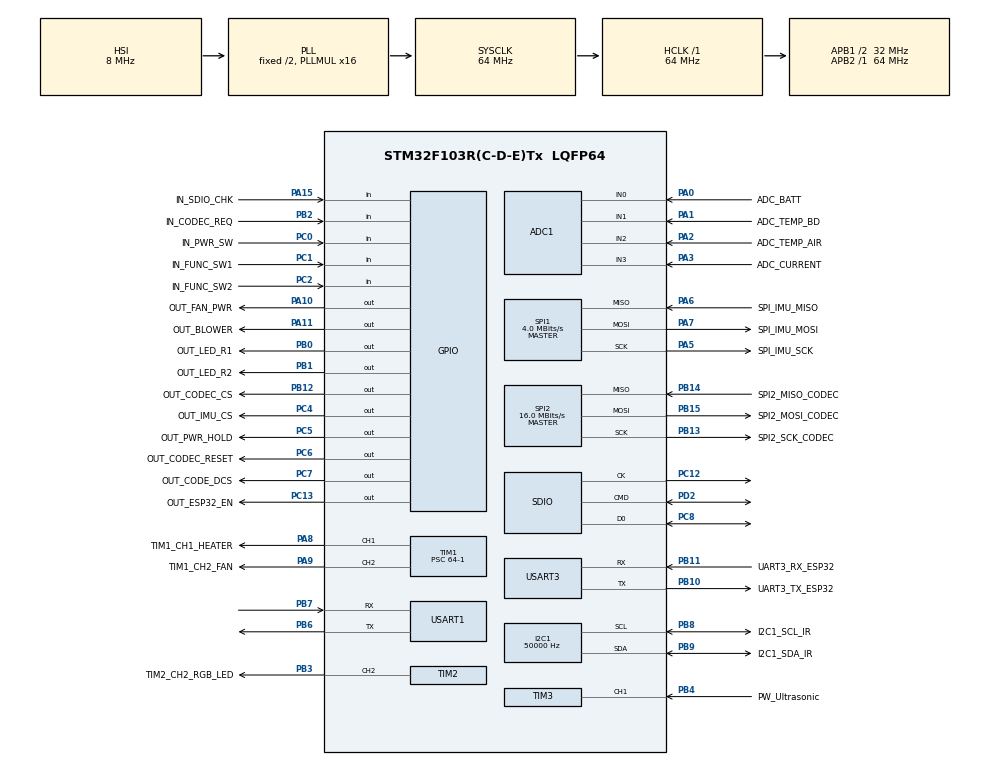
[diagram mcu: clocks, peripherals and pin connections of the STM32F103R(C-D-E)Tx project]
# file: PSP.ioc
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ADC1.Channel-0\#ChannelRegularConversion=ADC_CHANNEL_0
ADC1.Channel-1\#ChannelRegularConversion=ADC_CHANNEL_1
ADC1.Channel-2\#ChannelRegularConversion=ADC_CHANNEL_2
ADC1.Channel-3\#ChannelRegularConversion=ADC_CHANNEL_3
ADC1.ContinuousConvMode=ENABLE
ADC1.NbrOfConversion=4
ADC1.NbrOfConversionFlag=1
ADC1.Rank-0\#ChannelRegularConversion=1
ADC1.Rank-1\#ChannelRegularConversion=2
ADC1.Rank-2\#ChannelRegularConversion=3
ADC1.Rank-3\#ChannelRegularConversion=4
ADC1.SamplingTime-0\#ChannelRegularConversion=ADC_SAMPLETIME_239CYCLES_5
ADC1.SamplingTime-1\#ChannelRegularConversion=ADC_SAMPLETIME_239CYCLES_5
ADC1.SamplingTime-2\#ChannelRegularConversion=ADC_SAMPLETIME_239CYCLES_5
ADC1.SamplingTime-3\#ChannelRegularConversion=ADC_SAMPLETIME_239CYCLES_5
ADC1.master=1
Dma.ADC1.3.Direction=DMA_PERIPH_TO_MEMORY
Dma.ADC1.3.Instance=DMA1_Channel1
Dma.ADC1.3.MemDataAlignment=DMA_MDATAALIGN_WORD
Dma.ADC1.3.MemInc=DMA_MINC_ENABLE
Dma.ADC1.3.Mode=DMA_CIRCULAR
Dma.ADC1.3.PeriphDataAlignment=DMA_PDATAALIGN_WORD
Dma.ADC1.3.PeriphInc=DMA_PINC_DISABLE
Dma.ADC1.3.Priority=DMA_PRIORITY_LOW
Dma.Request0=SPI1_TX
Dma.Request1=SPI1_RX
Dma.Request2=TIM2_CH2/CH4
Dma.Request3=ADC1
Dma.Request4=SDIO
Dma.SDIO.4.Direction=DMA_PERIPH_TO_MEMORY
Dma.SDIO.4.Instance=DMA2_Channel4
Dma.SDIO.4.MemDataAlignment=DMA_MDATAALIGN_WORD
Dma.SDIO.4.MemInc=DMA_MINC_ENABLE
Dma.SDIO.4.Mode=DMA_NORMAL
Dma.SDIO.4.PeriphDataAlignment=DMA_PDATAALIGN_WORD
Dma.SDIO.4.PeriphInc=DMA_PINC_DISABLE
Dma.SDIO.4.Priority=DMA_PRIORITY_VERY_HIGH
Dma.SPI1_RX.1.Direction=DMA_PERIPH_TO_MEMORY
Dma.SPI1_RX.1.Instance=DMA1_Channel2
Dma.SPI1_RX.1.MemDataAlignment=DMA_MDATAALIGN_BYTE
Dma.SPI1_RX.1.MemInc=DMA_MINC_ENABLE
Dma.SPI1_RX.1.Mode=DMA_NORMAL
Dma.SPI1_RX.1.PeriphDataAlignment=DMA_PDATAALIGN_BYTE
Dma.SPI1_RX.1.PeriphInc=DMA_PINC_DISABLE
Dma.SPI1_RX.1.Priority=DMA_PRIORITY_LOW
Dma.SPI1_TX.0.Direction=DMA_MEMORY_TO_PERIPH
Dma.SPI1_TX.0.Instance=DMA1_Channel3
Dma.SPI1_TX.0.MemDataAlignment=DMA_MDATAALIGN_BYTE
Dma.SPI1_TX.0.MemInc=DMA_MINC_ENABLE
Dma.SPI1_TX.0.Mode=DMA_NORMAL
Dma.SPI1_TX.0.PeriphDataAlignment=DMA_PDATAALIGN_BYTE
Dma.SPI1_TX.0.PeriphInc=DMA_PINC_DISABLE
Dma.SPI1_TX.0.Priority=DMA_PRIORITY_LOW
Dma.TIM2_CH2/CH4.2.Direction=DMA_MEMORY_TO_PERIPH
Dma.TIM2_CH2/CH4.2.Instance=DMA1_Channel7
Dma.TIM2_CH2/CH4.2.MemDataAlignment=DMA_MDATAALIGN_HALFWORD
Dma.TIM2_CH2/CH4.2.MemInc=DMA_MINC_ENABLE
Dma.TIM2_CH2/CH4.2.Mode=DMA_NORMAL
Dma.TIM2_CH2/CH4.2.PeriphDataAlignment=DMA_PDATAALIGN_HALFWORD
Dma.TIM2_CH2/CH4.2.PeriphInc=DMA_PINC_DISABLE
Dma.TIM2_CH2/CH4.2.Priority=DMA_PRIORITY_LOW
FATFS.BSP.number=1
FATFS._CODE_PAGE=437
FATFS._MAX_SS=4096
FATFS._USE_LFN=2
FATFS0.BSP.STBoard=false
FATFS0.BSP.api=Unknown
FATFS0.BSP.instance=PA15
FATFS0.BSP.ip=GPIO
FATFS0.BSP.mode=Input
FATFS0.BSP.name=Detect_SDIO
FATFS0.BSP.solution=PA15
FREERTOS.Tasks01=defaultTask,0,128,StartDefaultTask,Default,NULL,Dynamic,NULL,NULL
FREERTOS.configCHECK_FOR_STACK_OVERFLOW=2
FREERTOS.configTOTAL_HEAP_SIZE=12288
FREERTOS.configUSE_MALLOC_FAILED_HOOK=1
I2C1.ClockSpeed=50000
I2C1.I2C_Mode=I2C_Fast
I2C1.NoStretchMode=I2C_NOSTRETCH_ENABLE
Mcu.Family=STM32F1
Mcu.Name=STM32F103R(C-D-E)Tx
Mcu.Package=LQFP64
NVIC.ADC1_2_IRQn=true\:5\:0\:false\:false\:true\:true\:true\:true\:true
NVIC.DMA1_Channel1_IRQn=true\:5\:0\:false\:false\:true\:true\:false\:true\:true
NVIC.DMA1_Channel2_IRQn=true\:5\:0\:false\:false\:true\:true\:false\:true\:true
NVIC.DMA1_Channel3_IRQn=true\:5\:0\:false\:false\:true\:true\:false\:true\:true
NVIC.DMA1_Channel7_IRQn=true\:5\:0\:false\:false\:true\:true\:false\:true\:true
NVIC.DMA2_Channel4_5_IRQn=true\:5\:0\:false\:false\:true\:true\:false\:true\:true
NVIC.PriorityGroup=NVIC_PRIORITYGROUP_4
NVIC.SDIO_IRQn=true\:5\:0\:false\:false\:true\:true\:true\:true\:true
NVIC.SPI2_IRQn=true\:5\:0\:false\:false\:true\:true\:true\:true\:true
NVIC.TIM2_IRQn=true\:5\:0\:false\:false\:true\:true\:true\:true\:true
NVIC.TIM3_IRQn=true\:5\:0\:false\:false\:true\:true\:true\:true\:true
NVIC.TIM4_IRQn=true\:15\:0\:false\:false\:true\:false\:false\:true\:true
NVIC.TimeBase=TIM4_IRQn
NVIC.TimeBaseIP=TIM4
NVIC.USART1_IRQn=true\:5\:0\:false\:false\:true\:true\:true\:true\:true
PA0-WKUP.GPIO_Label=ADC_BATT
PA0-WKUP.Signal=ADCx_IN0
PA1.GPIO_Label=ADC_TEMP_BD
PA1.Signal=ADCx_IN1
PA10.GPIO_Label=OUT_FAN_PWR
PA10.Signal=GPIO_Output
PA11.GPIO_Label=OUT_BLOWER
PA11.Signal=GPIO_Output
PA13.Mode=Serial_Wire
PA13.Signal=SYS_JTMS-SWDIO
PA14.Mode=Serial_Wire
PA14.Signal=SYS_JTCK-SWCLK
PA15.GPIO_Label=IN_SDIO_CHK
PA15.Signal=GPIO_Input
PA2.GPIO_Label=ADC_TEMP_AIR
PA2.Signal=ADCx_IN2
PA3.GPIO_Label=ADC_CURRENT
PA3.Signal=ADCx_IN3
PA5.GPIO_Label=SPI_IMU_SCK
PA5.Mode=Full_Duplex_Master
PA5.Signal=SPI1_SCK
PA6.GPIO_Label=SPI_IMU_MISO
PA6.Mode=Full_Duplex_Master
PA6.Signal=SPI1_MISO
PA7.GPIO_Label=SPI_IMU_MOSI
PA7.Mode=Full_Duplex_Master
PA7.Signal=SPI1_MOSI
PA8.GPIO_Label=TIM1_CH1_HEATER
PA8.Signal=S_TIM1_CH1
PA9.GPIO_Label=TIM1_CH2_FAN
PA9.Signal=S_TIM1_CH2
PB0.GPIO_Label=OUT_LED_R1
PB0.Signal=GPIO_Output
PB1.GPIO_Label=OUT_LED_R2
PB1.Signal=GPIO_Output
PB10.GPIO_Label=UART3_TX_ESP32
PB10.Mode=Asynchronous
PB10.Signal=USART3_TX
PB11.GPIO_Label=UART3_RX_ESP32
PB11.Mode=Asynchronous
PB11.Signal=USART3_RX
PB12.GPIO_Label=OUT_CODEC_CS
PB12.PinState=GPIO_PIN_SET
PB12.Signal=GPIO_Output
PB13.GPIO_Label=SPI2_SCK_CODEC
PB13.Mode=Full_Duplex_Master
PB13.Signal=SPI2_SCK
PB14.GPIO_Label=SPI2_MISO_CODEC
PB14.Mode=Full_Duplex_Master
PB14.Signal=SPI2_MISO
PB15.GPIO_Label=SPI2_MOSI_CODEC
PB15.Mode=Full_Duplex_Master
PB15.Signal=SPI2_MOSI
PB2.GPIO_Label=IN_CODEC_REQ
PB2.Signal=GPIO_Input
PB3.GPIO_Label=TIM2_CH2_RGB_LED
PB3.Signal=S_TIM2_CH2
PB4.GPIO_Label=PW_Ultrasonic
PB4.Signal=S_TIM3_CH1
PB6.Mode=Asynchronous
PB6.Signal=USART1_TX
PB7.Mode=Asynchronous
PB7.Signal=USART1_RX
PB8.GPIO_Label=I2C1_SCL_IR
PB8.Mode=I2C
PB8.Signal=I2C1_SCL
PB9.GPIO_Label=I2C1_SDA_IR
PB9.Mode=I2C
PB9.Signal=I2C1_SDA
PC0.GPIO_Label=IN_PWR_SW
PC0.Signal=GPIO_Input
PC1.GPIO_Label=IN_FUNC_SW1
PC1.Signal=GPIO_Input
PC12.Mode=SD_1_bit
PC12.Signal=SDIO_CK
PC13-TAMPER-RTC.GPIO_Label=OUT_ESP32_EN
PC13-TAMPER-RTC.Signal=GPIO_Output
PC2.GPIO_Label=IN_FUNC_SW2
PC2.Signal=GPIO_Input
PC4.GPIO_Label=OUT_IMU_CS
PC4.GPIO_Speed=GPIO_SPEED_FREQ_HIGH
PC4.PinState=GPIO_PIN_SET
PC4.Signal=GPIO_Output
PC5.GPIO_Label=OUT_PWR_HOLD
PC5.PinState=GPIO_PIN_SET
PC5.Signal=GPIO_Output
PC6.GPIO_Label=OUT_CODEC_RESET
PC6.Signal=GPIO_Output
PC7.GPIO_Label=OUT_CODE_DCS
PC7.PinState=GPIO_PIN_SET
PC7.Signal=GPIO_Output
PC8.Mode=SD_1_bit
PC8.Signal=SDIO_D0
PD2.Mode=SD_1_bit
PD2.Signal=SDIO_CMD
ProjectManager.HeapSize=0x400
ProjectManager.StackSize=0x3000
ProjectManager.TargetToolchain=CMake
RCC.ADCPresc=RCC_ADCPCLK2_DIV8
RCC.AHBFreq_Value=64000000
RCC.APB1CLKDivider=RCC_HCLK_DIV2
RCC.APB1Freq_Value=32000000
RCC.APB1TimFreq_Value=64000000
RCC.APB2Freq_Value=64000000
RCC.APB2TimFreq_Value=64000000
RCC.HCLKFreq_Value=64000000
RCC.PLLMUL=RCC_PLL_MUL16
RCC.SYSCLKFreq_VALUE=64000000
RCC.SYSCLKSource=RCC_SYSCLKSOURCE_PLLCLK
RCC.USBFreq_Value=64000000
SDIO.ClockDiv=248
SH.ADCx_IN0.0=ADC1_IN0,IN0
SH.ADCx_IN1.0=ADC1_IN1,IN1
SH.ADCx_IN2.0=ADC1_IN2,IN2
SH.ADCx_IN3.0=ADC1_IN3,IN3
SH.S_TIM1_CH1.0=TIM1_CH1,PWM Generation1 CH1
SH.S_TIM1_CH2.0=TIM1_CH2,PWM Generation2 CH2
SH.S_TIM2_CH2.0=TIM2_CH2,PWM Generation2 CH2
SH.S_TIM3_CH1.0=TIM3_CH1,Input_Capture1_from_TI1
SPI1.BaudRatePrescaler=SPI_BAUDRATEPRESCALER_16
SPI1.CLKPhase=SPI_PHASE_2EDGE
SPI1.CLKPolarity=SPI_POLARITY_HIGH
SPI1.CalculateBaudRate=4.0 MBits/s
SPI1.Direction=SPI_DIRECTION_2LINES
SPI1.Mode=SPI_MODE_MASTER
SPI1.VirtualType=VM_MASTER
SPI2.BaudRatePrescaler=SPI_BAUDRATEPRESCALER_2
SPI2.CLKPhase=SPI_PHASE_1EDGE
SPI2.CLKPolarity=SPI_POLARITY_LOW
SPI2.CalculateBaudRate=16.0 MBits/s
SPI2.DataSize=SPI_DATASIZE_8BIT
SPI2.Direction=SPI_DIRECTION_2LINES
SPI2.Mode=SPI_MODE_MASTER
SPI2.VirtualType=VM_MASTER
TIM1.Channel-PWM\ Generation1\ CH1=TIM_CHANNEL_1
TIM1.Channel-PWM\ Generation2\ CH2=TIM_CHANNEL_2
TIM1.Period=1000-1
TIM1.Prescaler=64-1
TIM2.Channel-PWM\ Generation2\ CH2=TIM_CHANNEL_2
TIM2.Period=80-1
TIM2.Prescaler=0
TIM3.Channel-Input_Capture1_from_TI1=TIM_CHANNEL_1
TIM3.Prescaler=64-1
USART1.VirtualMode=VM_ASYNC
USART3.VirtualMode=VM_ASYNC
VP_FATFS_VS_SDIO.Mode=SDIO
VP_FREERTOS_VS_CMSIS_V1.Mode=CMSIS_V1
VP_SYS_VS_tim4.Mode=TIM4
VP_TIM1_VS_ClockSourceINT.Mode=Internal
VP_TIM2_VS_ClockSourceINT.Mode=Internal
VP_TIM3_VS_ClockSourceINT.Mode=Internal
board=custom

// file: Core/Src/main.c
/* USER CODE BEGIN Header */
/**
  ******************************************************************************
  * @file           : main.c
  * @brief          : Main program body
  ******************************************************************************
  * @attention
  *
  * Copyright (c) 2026 STMicroelectronics.
  * All rights reserved.
  *
  * This software is licensed under terms that can be found in the LICENSE file
  * in the root directory of this software component.
  * If no LICENSE file comes with this software, it is provided AS-IS.
  *
  ******************************************************************************
  */
/* USER CODE END Header */
#include "main.h"
#include "cmsis_os.h"
#include "adc.h"
#include "dma.h"
#include "fatfs.h"
#include "i2c.h"
#include "sdio.h"
#include "spi.h"
#include "iwdg.h"
#include "tim.h"
#include "usart.h"
#include "gpio.h"

/* USER CODE BEGIN Includes */
#include <stdio.h>
#include "SEGGER_RTT.h"
#include "iwdg.h"
#include "stm32f1xx_hal.h"
#include "app/config.h"
#include "app/ipc.h"
/* USER CODE END Includes */

/* USER CODE BEGIN PV */
/* ADC1 DMA circular buffer — filled in background by DMA1_Channel1.
 * Indices (matching .ioc rank order):
 *   [0] ADC_BATT     (PA0)  battery voltage
 *   [1] ADC_TEMP_BD  (PA1)  board temperature
 *   [2] ADC_TEMP_AIR (PA2)  air / enclosure temperature
 *   [3] ADC_CURRENT  (PA3)  motor / heater current
 * Word alignment matches DMA_MDATAALIGN_WORD from .ioc.
 *
 * Externally visible (no `static`) so sensor_task in freertos.c can read
 * the latest values via an extern declaration. Still volatile because the
 * DMA controller writes it asynchronously to CPU loads.
 */
volatile uint32_t adc_buf[4];
/* USER CODE END PV */

void SystemClock_Config(void);
void MX_FREERTOS_Init(void);

int main(void)
{

  /* MCU Configuration--------------------------------------------------------*/

  /* Reset of all peripherals, Initializes the Flash interface and the Systick. */
  HAL_Init();

  /* Configure the system clock */
  SystemClock_Config();

  /* Initialize all configured peripherals */
  MX_GPIO_Init();
  MX_DMA_Init();
  MX_ADC1_Init();
  MX_SPI1_Init();
  MX_SDIO_SD_Init();
  MX_TIM1_Init();
  MX_USART1_UART_Init();
  MX_I2C1_Init();
  MX_TIM2_Init();
  MX_SPI2_Init();
  MX_USART3_UART_Init();
  MX_FATFS_Init();
  MX_TIM3_Init();
  /* USER CODE BEGIN 2 */

  /* --- 1. Power latch ------------------------------------------------------
   * PC5 = OUT_PWR_HOLD. The board power supply is latched by this pin: when
   * the user presses the power button (PC0 = IN_PWR_SW), power is applied
   * just long enough for the MCU to boot. We MUST drive PC5 HIGH as soon as
   * possible, otherwise the supply drops the moment the user releases the
   * button and we brown out mid-boot.
   *
   * MX_GPIO_Init() has already configured PC5 as push-pull output above,
   * so HAL_GPIO_WritePin is safe here. We do this FIRST in block 2, before
   * any peripheral start-up that might delay execution.
   */
  HAL_GPIO_WritePin(OUT_PWR_HOLD_GPIO_Port, OUT_PWR_HOLD_Pin, GPIO_PIN_SET);

  /* --- 1c. IWDG reset post-mortem indicator -------------------------------
   * If RCC_CSR.IWDGRSTF is set, the previous reset was caused by the
   * watchdog (a task deadlocked or starved). Snapshot RCC_CSR into the
   * global g_reset_cause so T_STATE can enter FSM_FAULT directly at init,
   * then clear all reset flags via RMVF. While still in pre-FreeRTOS
   * code, blink GPIO LEDs PB0+PB1 to give the user a clear visual signal
   * that this boot is *not* normal. SK6812 is not used here because it
   * depends on TIM2/DMA + actuators_init() which only runs after T_PID
   * starts. GPIO LEDs are init'd by MX_GPIO_Init() above and need no
   * extra setup. */
  g_reset_cause = RCC->CSR;
  RCC->CSR |= RCC_CSR_RMVF;
  if (g_reset_cause & RCC_CSR_IWDGRSTF) {
    for (int i = 0; i < BOOT_FAULT_BLINK_COUNT; i++) {
      HAL_GPIO_WritePin(OUT_LED_R1_GPIO_Port, OUT_LED_R1_Pin, GPIO_PIN_SET);
      HAL_GPIO_WritePin(OUT_LED_R2_GPIO_Port, OUT_LED_R2_Pin, GPIO_PIN_SET);
      HAL_Delay(BOOT_FAULT_BLINK_MS);
      HAL_GPIO_WritePin(OUT_LED_R1_GPIO_Port, OUT_LED_R1_Pin, GPIO_PIN_RESET);
      HAL_GPIO_WritePin(OUT_LED_R2_GPIO_Port, OUT_LED_R2_Pin, GPIO_PIN_RESET);
      HAL_Delay(BOOT_FAULT_BLINK_MS);
    }
  }

  /* --- 1b. SEGGER RTT init -------------------------------------------------
   * RTT auto-initializes on first SEGGER_RTT_Write(), but calling Init
   * explicitly here lets us see the control block in memory before the first
   * printf — useful if the debugger is attached but logs aren't showing.
   */
  SEGGER_RTT_Init();

  /* --- 2. printf retargeting (unbuffered stdout) ---------------------------
   * newlib defaults stdout to line-buffered, which delays output until '\n'
   * and may also fail silently if the heap is too small. Force unbuffered
   * mode so every printf() flushes immediately via __io_putchar -> USART1.
   */
  setvbuf(stdout, NULL, _IONBF, 0);
  printf("\r\n=== PSP V1.00 boot ===\r\n");
  printf("SYSCLK=%lu Hz, HCLK=%lu Hz\r\n",
         HAL_RCC_GetSysClockFreq(), HAL_RCC_GetHCLKFreq());

  /* --- 3. ADC1 DMA background sampling -------------------------------------
   * 4 channels, continuous conversion, circular DMA (see .ioc). Once started
   * the adc_buf[] array is kept up-to-date by DMA1_Channel1 with zero CPU
   * overhead. Readers just access adc_buf[i] directly.
   */
  if (HAL_ADC_Start_DMA(&hadc1, (uint32_t *)adc_buf, 4) != HAL_OK)
  {
    printf("ERR: HAL_ADC_Start_DMA failed\r\n");
    Error_Handler();
  }

  /* --- 4. Hardware watchdog ------------------------------------------------
   * IWDG is started inside T_WDG (Core/Src/app/t_wdg.c), not here. Starting
   * it from the kicker task avoids the timing gap between "IWDG counting"
   * and "kicker is ready" [C1]. Do NOT call MX_IWDG_Init() in main.c. */
  /* USER CODE END 2 */

  /* Call init function for freertos objects (in cmsis_os2.c) */
  MX_FREERTOS_Init();

  /* Start scheduler */
  osKernelStart();

  /* We should never get here as control is now taken by the scheduler */

  /* Infinite loop */
  /* USER CODE BEGIN WHILE */
  /* osKernelStart() above never returns under normal operation. If we
   * reach this loop the scheduler failed to launch (heap exhaustion in
   * MX_FREERTOS_Init, MPU misconfig, etc.) — fail loud rather than
   * silently fall back to a super-loop that no longer matches the rest
   * of the firmware. */
  printf("FATAL: scheduler exited\r\n");
  Error_Handler();
  while (1)
  {
    /* USER CODE END WHILE */

  }
}

void SystemClock_Config(void)
{
  RCC_OscInitTypeDef RCC_OscInitStruct = {0};
  RCC_ClkInitTypeDef RCC_ClkInitStruct = {0};
  RCC_PeriphCLKInitTypeDef PeriphClkInit = {0};

  /** Initializes the RCC Oscillators according to the specified parameters
  * in the RCC_OscInitTypeDef structure.
  */
  RCC_OscInitStruct.OscillatorType = RCC_OSCILLATORTYPE_HSI;
  RCC_OscInitStruct.HSIState = RCC_HSI_ON;
  RCC_OscInitStruct.HSICalibrationValue = RCC_HSICALIBRATION_DEFAULT;
  RCC_OscInitStruct.PLL.PLLState = RCC_PLL_ON;
  RCC_OscInitStruct.PLL.PLLSource = RCC_PLLSOURCE_HSI_DIV2;
  RCC_OscInitStruct.PLL.PLLMUL = RCC_PLL_MUL16;
  if (HAL_RCC_OscConfig(&RCC_OscInitStruct) != HAL_OK)
  {
    Error_Handler();
  }

  /** Initializes the CPU, AHB and APB buses clocks
  */
  RCC_ClkInitStruct.ClockType = RCC_CLOCKTYPE_HCLK|RCC_CLOCKTYPE_SYSCLK
                              |RCC_CLOCKTYPE_PCLK1|RCC_CLOCKTYPE_PCLK2;
  RCC_ClkInitStruct.SYSCLKSource = RCC_SYSCLKSOURCE_PLLCLK;
  RCC_ClkInitStruct.AHBCLKDivider = RCC_SYSCLK_DIV1;
  RCC_ClkInitStruct.APB1CLKDivider = RCC_HCLK_DIV2;
  RCC_ClkInitStruct.APB2CLKDivider = RCC_HCLK_DIV1;

  if (HAL_RCC_ClockConfig(&RCC_ClkInitStruct, FLASH_LATENCY_2) != HAL_OK)
  {
    Error_Handler();
  }
  PeriphClkInit.PeriphClockSelection = RCC_PERIPHCLK_ADC;
  PeriphClkInit.AdcClockSelection = RCC_ADCPCLK2_DIV8;
  if (HAL_RCCEx_PeriphCLKConfig(&PeriphClkInit) != HAL_OK)
  {
    Error_Handler();
  }
}

/* USER CODE BEGIN 4 */
/**
 * @brief  Pre-main RTT initializer (constructor).
 *
 * Runs from __libc_init_array() BEFORE main() is entered. This ensures that
 * the _SEGGER_RTT control block has its magic string and ring buffer
 * pointers set up by the time the debugger halts at main(), so Cortex-Debug's
 * "monitor rtt setup" succeeds on the very first try and the user does not
 * need to press F5 twice to get logs flowing.
 *
 * Note: the control block's absolute address depends on the current .bss
 * layout and changes whenever new global/static variables are added. Do
 * NOT hardcode the address in launch.json — use `monitor rtt setup
 * 0x20000000 0xC000 "SEGGER RTT"` which asks OpenOCD to scan the entire
 * STM32F103RC RAM (48 KB) for the SEGGER magic marker and locate the
 * control block dynamically. Query the current address with:
 *     arm-none-eabi-nm build/Debug/PSP.elf | grep _SEGGER_RTT
 *
 * Mechanism: GCC __attribute__((constructor)) registers this function in the
 * .init_array section. The startup_stm32f103xe.s Reset_Handler calls
 * __libc_init_array() right before main(), which iterates that section and
 * invokes every registered constructor. Same mechanism C++ uses for global
 * object construction.
 *
 * The duplicate call inside USER CODE BEGIN 2 is intentional defensive
 * redundancy — calling SEGGER_RTT_Init() twice is harmless (it just rewrites
 * the same magic and pointers).
 */
__attribute__((constructor))
static void rtt_pre_main_init(void)
{
  SEGGER_RTT_Init();
}

/**
 * @brief  printf() retarget hook — dual output to SEGGER RTT + USART1.
 *
 * Overrides the weak __io_putchar stub in Core/Src/syscalls.c so newlib's
 * _write() routes every character through BOTH transports:
 *
 *   1. SEGGER RTT channel 0 (non-blocking, ~10 ns per byte)
 *      - Visible in Cortex-Debug "RTT Ch:0 console" when a debugger is
 *        attached via OpenOCD + ST-Link
 *      - Uses SEGGER_RTT_MODE_NO_BLOCK_SKIP: drops bytes if buffer full,
 *        never stalls the CPU
 *
 *   2. USART1 PB6 TX @ 115200 8N1 (blocking, ~87 µs per byte)
 *      - Visible on any USB-TTL adapter or ST-Link VCP connected to PB6
 *      - Keeps logs available when no debugger is attached
 *
 * RTT is called first so that debug-attached sessions get the log at
 * effectively zero latency, with the slower UART path following. Blocking
 * UART transmit is acceptable because printf() is only used from the main
 * loop; do NOT call printf() from an ISR (deadlock risk).
 */
int __io_putchar(int ch)
{
  SEGGER_RTT_Write(0, &ch, 1);
  HAL_UART_Transmit(&huart1, (uint8_t *)&ch, 1, HAL_MAX_DELAY);
  return ch;
}
/* USER CODE END 4 */

void HAL_TIM_PeriodElapsedCallback(TIM_HandleTypeDef *htim)
{
  if (htim->Instance == TIM4)
  {
    HAL_IncTick();
  }
}

void Error_Handler(void)
{
  __disable_irq();
  while (1)
  {
  }
}

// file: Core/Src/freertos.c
/* USER CODE BEGIN Header */
/**
  ******************************************************************************
  * File Name          : freertos.c
  * Description        : Code for freertos applications
  ******************************************************************************
  * @attention
  *
  * Copyright (c) 2026 STMicroelectronics.
  * All rights reserved.
  *
  * This software is licensed under terms that can be found in the LICENSE file
  * in the root directory of this software component.
  * If no LICENSE file comes with this software, it is provided AS-IS.
  *
  ******************************************************************************
  */
/* USER CODE END Header */

#include "FreeRTOS.h"
#include "task.h"
#include "main.h"
#include "cmsis_os.h"

/* USER CODE BEGIN Includes */
#include "SEGGER_RTT.h"
#include "queue.h"
#include "semphr.h"
#include "app/config.h"
#include "app/ipc.h"
#include "app/fsm.h"
#include "app/rtt_log.h"
#include "iwdg.h"
/* USER CODE END Includes */

/* USER CODE BEGIN Variables */

/* Application task handles. defaultTaskHandle (CMSIS-OS v1) is declared
 * separately below by the CubeMX-generated code; the four application tasks
 * use the raw FreeRTOS API (TaskHandle_t) instead. */
TaskHandle_t h_t_state;
TaskHandle_t h_t_pid;
TaskHandle_t h_t_ml;
TaskHandle_t h_t_logger;
TaskHandle_t h_t_wdg;

/* PI mutex for the I2C1 bus shared by T_PID (IR sensors) and T_ML
 * (ICM42670P + ADS1115). Created with xSemaphoreCreateMutex() so priority
 * inheritance is automatic — see plan A1 for the blocking analysis. */
SemaphoreHandle_t mtx_i2c1;

/* Mutex for the dual RTT+UART transport used by __io_putchar in main.c.
 * Required because both the logger task and any defaultTask printf would
 * otherwise interleave bytes on the wire. */
SemaphoreHandle_t mtx_uart1;

/* Inter-task queues. Depths come from config.h so we can resize them in
 * one place if a particular path turns out to be a bottleneck. q_btn_evt
 * was removed when buttons were dropped from the design (D13). */
QueueHandle_t q_log;
QueueHandle_t q_ctrl_to_pid;
QueueHandle_t q_trigger_to_state;
QueueHandle_t q_fault_req;

/* Current FSM state, written only by T_STATE, read by T_PID for safety
 * invariants and by defaultTask for the heartbeat dump. uint32_t alignment
 * makes single-word reads atomic on Cortex-M3 — see plan A8. */
volatile uint32_t g_fsm_state = 0;  /* FSM_FORCE_DOWN */

/* Canary counters for IWDG watchdog. Each task increments its counter at
 * the end of its main loop. T_WDG reads all three every 100 ms. */
/* g_canary_* are defined in each task's .c file (see t_*_inst.h). */

/* Failsafe latch — see ipc.h. Cleared at boot, set by T_WDG on stall. */
volatile uint8_t  g_failsafe_active = 0;

/* Per-task instrumentation (g_phase_*, g_cycle_ms_*, g_pid_phase_ms[])
 * lives in each task's own .c file; see t_ml_inst.h, t_pid_inst.h,
 * t_state_inst.h for the externs. */

/* Snapshot of RCC_CSR taken in main.c before RMVF clear. T_STATE reads this
 * at init to decide whether to enter FSM_FAULT directly (IWDG-recovery boot)
 * or boot normally into FORCE_DOWN. Written-once-before-scheduler-start. */
volatile uint32_t g_reset_cause = 0;

/* USER CODE END Variables */
osThreadId defaultTaskHandle;

/* USER CODE BEGIN FunctionPrototypes */

/* Application task entry points. Each lives in Core/Src/app/t_*.c. Forward
 * declared here rather than in a separate header so adding a new task is a
 * one-line change in this file. */
void t_state_run (void *arg);
void t_pid_run   (void *arg);
void t_ml_run    (void *arg);
void t_logger_run(void *arg);
void t_wdg_run   (void *arg);

/* USER CODE END FunctionPrototypes */

void StartDefaultTask(void const * argument);

void MX_FREERTOS_Init(void); /* (MISRA C 2004 rule 8.1) */

/* GetIdleTaskMemory prototype (linked to static allocation support) */
void vApplicationGetIdleTaskMemory( StaticTask_t **ppxIdleTaskTCBBuffer, StackType_t **ppxIdleTaskStackBuffer, uint32_t *pulIdleTaskStackSize );

/* Hook prototypes */
void vApplicationStackOverflowHook(xTaskHandle xTask, signed char *pcTaskName);
void vApplicationMallocFailedHook(void);

/* USER CODE BEGIN 4 */
void vApplicationStackOverflowHook(xTaskHandle xTask, signed char *pcTaskName)
{
  /* Stack overflow is unrecoverable: the offending task may have corrupted
   * the TCB or adjacent task stacks before this hook is called. We must NOT
   * try to schedule any further work on this kernel state.
   *
   * Strategy: emit one synchronous RTT line so the failing task is visible
   * in the debug console, then trip a hardware reset. NEVER use printf() or
   * any FreeRTOS API here — interrupts may be in an unknown state and the
   * heap may be corrupted. SEGGER_RTT_Write is safe because it touches a
   * fixed memory region with no locks.
   *
   * Plan reference: A6.
   */
  (void)xTask;
  SEGGER_RTT_Write(0, "\r\n!!! STACK OVERFLOW: ", 22);
  if (pcTaskName != NULL) {
    /* pcTaskName is a TCB-owned NUL-terminated string up to
     * configMAX_TASK_NAME_LEN bytes. Walk it manually to avoid strlen. */
    const char *p = (const char *)pcTaskName;
    int n = 0;
    while (n < 16 && p[n] != '\0') n++;
    SEGGER_RTT_Write(0, p, n);
  }
  SEGGER_RTT_Write(0, " !!!\r\n", 6);

  /* Give the debugger a chance to drain RTT before reset. Busy-wait because
   * vTaskDelay would be unsafe at this point. */
  for (volatile uint32_t i = 0; i < 2000000; i++) { __asm__ volatile ("nop"); }

  NVIC_SystemReset();
  for (;;) { /* unreachable */ }
}
/* USER CODE END 4 */

/* USER CODE BEGIN 5 */
__weak void vApplicationMallocFailedHook(void)
{
   /* vApplicationMallocFailedHook() will only be called if
   configUSE_MALLOC_FAILED_HOOK is set to 1 in FreeRTOSConfig.h. It is a hook
   function that will get called if a call to pvPortMalloc() fails.
   pvPortMalloc() is called internally by the kernel whenever a task, queue,
   timer or semaphore is created. It is also called by various parts of the
   demo application. If heap_1.c or heap_2.c are used, then the size of the
   heap available to pvPortMalloc() is defined by configTOTAL_HEAP_SIZE in
   FreeRTOSConfig.h, and the xPortGetFreeHeapSize() API function can be used
   to query the size of free heap space that remains (although it does not
   provide information on how the remaining heap might be fragmented). */
}
/* USER CODE END 5 */

/* USER CODE BEGIN GET_IDLE_TASK_MEMORY */
static StaticTask_t xIdleTaskTCBBuffer;
static StackType_t xIdleStack[configMINIMAL_STACK_SIZE];

void vApplicationGetIdleTaskMemory( StaticTask_t **ppxIdleTaskTCBBuffer, StackType_t **ppxIdleTaskStackBuffer, uint32_t *pulIdleTaskStackSize )
{
  *ppxIdleTaskTCBBuffer = &xIdleTaskTCBBuffer;
  *ppxIdleTaskStackBuffer = &xIdleStack[0];
  *pulIdleTaskStackSize = configMINIMAL_STACK_SIZE;
  /* place for user code */
}
/* USER CODE END GET_IDLE_TASK_MEMORY */

void MX_FREERTOS_Init(void) {

  /* USER CODE BEGIN RTOS_MUTEX */
  /* PI mutex — priority inheritance is automatic with xSemaphoreCreateMutex.
   * NEVER replace with xSemaphoreCreateBinary() — see plan A1. */
  mtx_i2c1  = xSemaphoreCreateMutex();
  mtx_uart1 = xSemaphoreCreateMutex();
  configASSERT(mtx_i2c1  != NULL);
  configASSERT(mtx_uart1 != NULL);
  /* USER CODE END RTOS_MUTEX */

  /* USER CODE BEGIN RTOS_QUEUES */
  q_log              = xQueueCreate(Q_LOG_DEPTH,              sizeof(log_msg_t));
  q_ctrl_to_pid      = xQueueCreate(Q_CTRL_TO_PID_DEPTH,      sizeof(ctrl_cmd_t));
  q_trigger_to_state = xQueueCreate(Q_TRIGGER_TO_STATE_DEPTH, sizeof(trig_msg_t));
  q_fault_req        = xQueueCreate(Q_FAULT_REQ_DEPTH,        sizeof(fault_req_t));
  configASSERT(q_log              != NULL);
  configASSERT(q_ctrl_to_pid      != NULL);
  configASSERT(q_trigger_to_state != NULL);
  configASSERT(q_fault_req        != NULL);
  /* USER CODE END RTOS_QUEUES */

  /* Create the thread(s) */
  /* definition and creation of defaultTask */
  osThreadDef(defaultTask, StartDefaultTask, osPriorityNormal, 0, 128);
  defaultTaskHandle = osThreadCreate(osThread(defaultTask), NULL);

  /* USER CODE BEGIN RTOS_THREADS */
  /* Application tasks (raw FreeRTOS API).
   *
   * Phase 1: stub bodies — each task just delays and prints heartbeat to RTT.
   * We create them now so the IPC primitives above are exercised at boot
   * and we can verify the scheduler handles 5 tasks (4 app + defaultTask)
   * before piling on real driver code in later phases.
   *
   * Stack sizes are deliberately generous during bring-up; we shrink in
   * Phase 6 after measuring uxTaskGetStackHighWaterMark from each task. */
  BaseType_t ok;
  ok = xTaskCreate(t_state_run,  "T_STATE",  STK_T_STATE_WORDS,
                   NULL, PRIO_T_STATE,  &h_t_state);
  configASSERT(ok == pdPASS);
  ok = xTaskCreate(t_pid_run,    "T_PID",    STK_T_PID_WORDS,
                   NULL, PRIO_T_PID,    &h_t_pid);
  configASSERT(ok == pdPASS);
  ok = xTaskCreate(t_ml_run,     "T_ML",     STK_T_ML_WORDS,
                   NULL, PRIO_T_ML,     &h_t_ml);
  configASSERT(ok == pdPASS);
  ok = xTaskCreate(t_logger_run, "T_LOGGER", STK_T_LOGGER_WORDS,
                   NULL, PRIO_T_LOGGER, &h_t_logger);
  configASSERT(ok == pdPASS);
  ok = xTaskCreate(t_wdg_run,   "T_WDG",    STK_T_WDG_WORDS,
                   NULL, PRIO_T_WDG,    &h_t_wdg);
  configASSERT(ok == pdPASS);
  /* USER CODE END RTOS_THREADS */

}

void StartDefaultTask(void const * argument)
{
  /* USER CODE BEGIN StartDefaultTask */
  /* 1 Hz health beacon. Reports:
   *   - tick counter (proves scheduler is alive)
   *   - free heap (xPortGetFreeHeapSize, drops if any task leaks)
   *   - lowest free heap watermark (xPortGetMinimumEverFreeHeapSize)
   *   - current FSM state from g_fsm_state (atomic 32-bit read)
   *
   * In Phase 2, this task also doubles as the auto-trigger emulator
   * (PHASE2_AUTO_TRIGGER) — every PHASE2_AUTO_TRIGGER_PERIOD_MS we publish
   * an alternating UP/DOWN trigger to q_trigger_to_state so the FSM
   * cycles even though T_ML still has no real trigger source. Removed
   * by setting PHASE2_AUTO_TRIGGER to 0 in Phase 4.
   *
   * Uses rtt_log_hb (printf-free) which is non-blocking and safe from any
   * task. Avoid newlib printf here so this loop never blocks on UART
   * transmit or grabs mtx_uart1 — defaultTask is the canary that proves
   * the rest of the system is healthy, so it must not depend on the rest
   * of the system being healthy. */
  uint32_t tick = 0;
#if PHASE2_AUTO_TRIGGER
  /* Period in heartbeat ticks. heartbeat is 1 Hz and PHASE2_AUTO_TRIGGER_PERIOD_MS
   * is 10000, so we fire on every 10th tick. */
  const uint32_t auto_trig_every = PHASE2_AUTO_TRIGGER_PERIOD_MS / PERIOD_HEARTBEAT_MS;
  bool next_trig_is_up = true;  /* first trigger lifts FORCE_DOWN → FORCE_UP */
#endif

  for (;;)
  {
    tick++;
    uint32_t ts_ms = (uint32_t)(xTaskGetTickCount() * portTICK_PERIOD_MS);
    rtt_log_hb_st("[hb]", ts_ms,
        " free=", (int32_t)xPortGetFreeHeapSize(),
        " lo=",   (int32_t)xPortGetMinimumEverFreeHeapSize(),
        " fsm=",  (int32_t)g_fsm_state,
        NULL, 0);

    /* Stack high-water mark: minimum free stack in WORDS for each task.
     * Logged every 10 seconds to avoid RTT noise. A value approaching 0
     * means the task is close to stack overflow. Use these numbers to
     * right-size STK_*_WORDS in config.h after bring-up stabilizes. */
    if ((tick % 10) == 0) {
      rtt_log_hb_st("[hb:stk]", ts_ms,
          " st=",  (int32_t)uxTaskGetStackHighWaterMark(h_t_state),
          " pid=", (int32_t)uxTaskGetStackHighWaterMark(h_t_pid),
          " ml=",  (int32_t)uxTaskGetStackHighWaterMark(h_t_ml),
          " log=", (int32_t)uxTaskGetStackHighWaterMark(h_t_logger));
      /* [W8] T_WDG uses minimal stack — monitor watermark closely. */
      rtt_log_kv("[hb:stk] wdg=",
          (uint32_t)uxTaskGetStackHighWaterMark(h_t_wdg));
    }

#if PHASE2_AUTO_TRIGGER
    if (auto_trig_every > 0 && (tick % auto_trig_every) == 0) {
      trig_msg_t tmsg = {
        .event = (uint8_t)(next_trig_is_up
                           ? FSM_EVT_TRIGGER_FORCE_UP
                           : FSM_EVT_TRIGGER_FORCE_DOWN),
        .pad   = {0, 0, 0},
      };
      (void)xQueueSendToBack(q_trigger_to_state, &tmsg, 0);
      rtt_log_str(next_trig_is_up
                  ? "[hb] auto-trig: TRIG_UP"
                  : "[hb] auto-trig: TRIG_DOWN");
      next_trig_is_up = !next_trig_is_up;
    }
#endif

    HAL_IWDG_Refresh(&hiwdg);
    vTaskDelay(pdMS_TO_TICKS(PERIOD_HEARTBEAT_MS));
  }
  /* USER CODE END StartDefaultTask */
}
